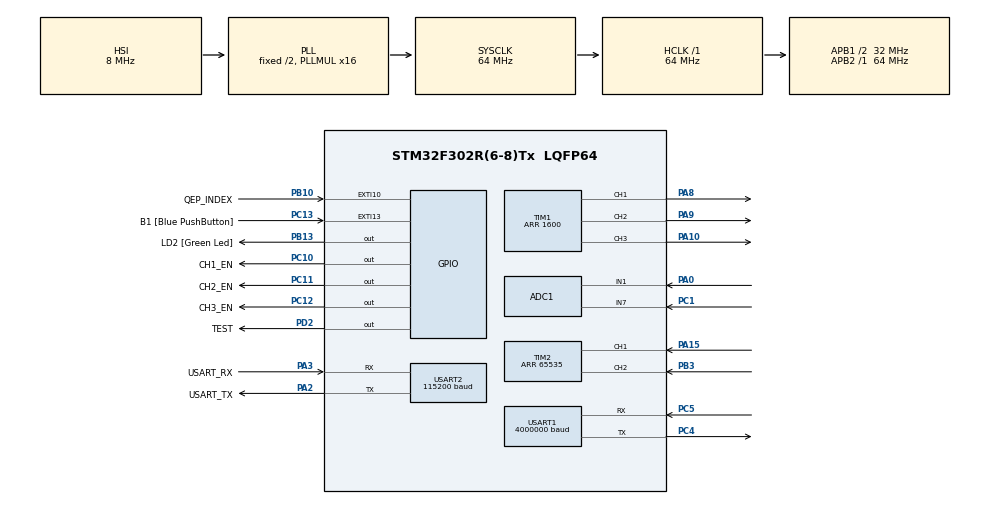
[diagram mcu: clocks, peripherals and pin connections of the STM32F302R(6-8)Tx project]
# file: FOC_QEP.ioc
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ADC1.Channel-0\#ChannelRegularConversion=ADC_CHANNEL_1
ADC1.ClockPrescaler=ADC_CLOCK_SYNC_PCLK_DIV4
ADC1.EOCSelection=ADC_EOC_SEQ_CONV
ADC1.ExternalTrigInjecConv=ADC_EXTERNALTRIGINJECCONV_T1_TRGO
ADC1.InjNumberOfConversion=2
ADC1.InjectedChannel-1\#ChannelInjectedConversion=ADC_CHANNEL_1
ADC1.InjectedChannel-2\#ChannelInjectedConversion=ADC_CHANNEL_7
ADC1.InjectedOffset-1\#ChannelInjectedConversion=0
ADC1.InjectedOffset-2\#ChannelInjectedConversion=0
ADC1.InjectedOffsetNumber-1\#ChannelInjectedConversion=ADC_OFFSET_NONE
ADC1.InjectedOffsetNumber-2\#ChannelInjectedConversion=ADC_OFFSET_NONE
ADC1.InjectedRank-1\#ChannelInjectedConversion=1
ADC1.InjectedRank-2\#ChannelInjectedConversion=2
ADC1.InjectedSamplingTime-1\#ChannelInjectedConversion=ADC_SAMPLETIME_2CYCLES_5
ADC1.InjectedSamplingTime-2\#ChannelInjectedConversion=ADC_SAMPLETIME_2CYCLES_5
ADC1.InjectedSamplingTimeOPAMP-1\#ChannelInjectedConversion=ADC_SAMPLETIME_61CYCLES_5
ADC1.InjectedSamplingTimeOPAMP-2\#ChannelInjectedConversion=ADC_SAMPLETIME_61CYCLES_5
ADC1.NbrOfConversionFlag=1
ADC1.Offset-0\#ChannelRegularConversion=0
ADC1.OffsetNumber-0\#ChannelRegularConversion=ADC_OFFSET_NONE
ADC1.Rank-0\#ChannelRegularConversion=1
ADC1.Rank1_Channel=ADC_CHANNEL_1
ADC1.Rank2_Channel=ADC_CHANNEL_7
ADC1.SamplingTime-0\#ChannelRegularConversion=ADC_SAMPLETIME_1CYCLE_5
ADC1.SubFamily=STM32F302x8
ADC1.master=1
Dma.Request0=USART1_RX
Dma.Request1=USART1_TX
Dma.Request2=USART2_RX
Dma.Request3=USART2_TX
Dma.USART1_RX.0.Direction=DMA_PERIPH_TO_MEMORY
Dma.USART1_RX.0.Instance=DMA1_Channel5
Dma.USART1_RX.0.MemDataAlignment=DMA_MDATAALIGN_BYTE
Dma.USART1_RX.0.MemInc=DMA_MINC_ENABLE
Dma.USART1_RX.0.Mode=DMA_CIRCULAR
Dma.USART1_RX.0.PeriphDataAlignment=DMA_PDATAALIGN_BYTE
Dma.USART1_RX.0.PeriphInc=DMA_PINC_DISABLE
Dma.USART1_RX.0.Priority=DMA_PRIORITY_LOW
Dma.USART1_TX.1.Direction=DMA_MEMORY_TO_PERIPH
Dma.USART1_TX.1.Instance=DMA1_Channel4
Dma.USART1_TX.1.MemDataAlignment=DMA_MDATAALIGN_BYTE
Dma.USART1_TX.1.MemInc=DMA_MINC_ENABLE
Dma.USART1_TX.1.Mode=DMA_NORMAL
Dma.USART1_TX.1.PeriphDataAlignment=DMA_PDATAALIGN_BYTE
Dma.USART1_TX.1.PeriphInc=DMA_PINC_DISABLE
Dma.USART1_TX.1.Priority=DMA_PRIORITY_LOW
Dma.USART2_RX.2.Direction=DMA_PERIPH_TO_MEMORY
Dma.USART2_RX.2.Instance=DMA1_Channel6
Dma.USART2_RX.2.MemDataAlignment=DMA_MDATAALIGN_BYTE
Dma.USART2_RX.2.MemInc=DMA_MINC_ENABLE
Dma.USART2_RX.2.Mode=DMA_NORMAL
Dma.USART2_RX.2.PeriphDataAlignment=DMA_PDATAALIGN_BYTE
Dma.USART2_RX.2.PeriphInc=DMA_PINC_DISABLE
Dma.USART2_RX.2.Priority=DMA_PRIORITY_LOW
Dma.USART2_TX.3.Direction=DMA_MEMORY_TO_PERIPH
Dma.USART2_TX.3.Instance=DMA1_Channel7
Dma.USART2_TX.3.MemDataAlignment=DMA_MDATAALIGN_BYTE
Dma.USART2_TX.3.MemInc=DMA_MINC_ENABLE
Dma.USART2_TX.3.Mode=DMA_NORMAL
Dma.USART2_TX.3.PeriphDataAlignment=DMA_PDATAALIGN_BYTE
Dma.USART2_TX.3.PeriphInc=DMA_PINC_DISABLE
Dma.USART2_TX.3.Priority=DMA_PRIORITY_LOW
Mcu.Family=STM32F3
Mcu.Name=STM32F302R(6-8)Tx
Mcu.Package=LQFP64
NVIC.ADC1_IRQn=true\:2\:0\:true\:true\:true\:3\:true\:true
NVIC.DMA1_Channel4_IRQn=true\:0\:0\:false\:false\:true\:false\:true
NVIC.DMA1_Channel5_IRQn=true\:0\:0\:false\:false\:true\:false\:true
NVIC.DMA1_Channel6_IRQn=true\:0\:0\:false\:false\:true\:false\:true
NVIC.DMA1_Channel7_IRQn=true\:0\:0\:false\:false\:true\:false\:true
NVIC.EXTI15_10_IRQn=true\:1\:0\:true\:true\:true\:2\:true\:true
NVIC.PriorityGroup=NVIC_PRIORITYGROUP_4
NVIC.TIM1_UP_TIM16_IRQn=true\:2\:0\:true\:true\:true\:4\:true\:true
NVIC.TIM6_DAC_IRQn=true\:2\:0\:true\:true\:true\:5\:true\:true
NVIC.USART1_IRQn=true\:0\:0\:false\:true\:true\:1\:true\:true
NVIC.USART2_IRQn=true\:0\:0\:false\:false\:true\:true\:true
PA0.Mode=IN1-Single-Ended
PA0.Signal=ADC1_IN1
PA10.Signal=S_TIM1_CH3
PA15.Signal=S_TIM2_CH1_ETR
PA2.GPIO_Label=USART_TX
PA2.GPIO_Mode=GPIO_MODE_AF_PP
PA2.GPIO_PuPd=GPIO_NOPULL
PA2.GPIO_Speed=GPIO_SPEED_FREQ_LOW
PA2.Mode=Asynchronous
PA2.Signal=USART2_TX
PA3.GPIO_Label=USART_RX
PA3.GPIO_Mode=GPIO_MODE_AF_PP
PA3.GPIO_PuPd=GPIO_NOPULL
PA3.GPIO_Speed=GPIO_SPEED_FREQ_LOW
PA3.Mode=Asynchronous
PA3.Signal=USART2_RX
PA8.Signal=S_TIM1_CH1
PA9.Signal=S_TIM1_CH2
PB10.GPIO_Label=QEP_INDEX
PB10.GPIO_ModeDefaultEXTI=GPIO_MODE_IT_FALLING
PB10.Signal=GPXTI10
PB13.GPIO_Label=LD2 [Green Led]
PB13.Signal=GPIO_Output
PB3.Signal=S_TIM2_CH2
PC1.Signal=ADCx_IN7
PC10.GPIO_Label=CH1_EN
PC10.Signal=GPIO_Output
PC11.GPIO_Label=CH2_EN
PC11.Signal=GPIO_Output
PC12.GPIO_Label=CH3_EN
PC12.Signal=GPIO_Output
PC13.GPIO_Label=B1 [Blue PushButton]
PC13.GPIO_ModeDefaultEXTI=GPIO_MODE_IT_FALLING
PC13.Signal=GPXTI13
PC4.Mode=Asynchronous
PC4.Signal=USART1_TX
PC5.Mode=Asynchronous
PC5.Signal=USART1_RX
PD2.GPIO_Label=TEST
PD2.Signal=GPIO_Output
ProjectManager.HeapSize=0x200
ProjectManager.StackSize=0x400
ProjectManager.TargetToolchain=MDK-ARM V5
RCC.AHBFreq_Value=64000000
RCC.APB1CLKDivider=RCC_HCLK_DIV2
RCC.APB1Freq_Value=32000000
RCC.APB1TimFreq_Value=64000000
RCC.APB2Freq_Value=64000000
RCC.APB2TimFreq_Value=64000000
RCC.CortexFreq_Value=64000000
RCC.HCLKFreq_Value=64000000
RCC.HSE_VALUE=8000000
RCC.HSI_VALUE=8000000
RCC.LSE_VALUE=32768
RCC.PLLM=8
RCC.PLLMUL=RCC_PLL_MUL16
RCC.PLLN=336
RCC.PLLP=RCC_PLLP_DIV4
RCC.PLLQ=7
RCC.RCC_PLLsource_Clock_Source_FROM_HSE=RCC_HSE_PREDIV_DIV2
RCC.SYSCLKFreq_VALUE=64000000
RCC.SYSCLKSourceVirtual=RCC_SYSCLKSOURCE_PLLCLK
RCC.USBFreq_Value=64000000
SH.ADCx_IN7.0=ADC1_IN7,IN7-Single-Ended
SH.S_TIM1_CH1.0=TIM1_CH1,PWM Generation1 CH1
SH.S_TIM1_CH2.0=TIM1_CH2,PWM Generation2 CH2
SH.S_TIM1_CH3.0=TIM1_CH3,PWM Generation3 CH3
SH.S_TIM2_CH1_ETR.0=TIM2_CH1,Encoder_Interface
SH.S_TIM2_CH2.0=TIM2_CH2,Encoder_Interface
TIM1.Channel-PWM\ Generation1\ CH1=TIM_CHANNEL_1
TIM1.Channel-PWM\ Generation2\ CH2=TIM_CHANNEL_2
TIM1.Channel-PWM\ Generation3\ CH3=TIM_CHANNEL_3
TIM1.CounterMode=TIM_COUNTERMODE_CENTERALIGNED1
TIM1.OCMode_PWM-PWM\ Generation1\ CH1=TIM_OCMODE_PWM2
TIM1.OCMode_PWM-PWM\ Generation2\ CH2=TIM_OCMODE_PWM2
TIM1.OCMode_PWM-PWM\ Generation3\ CH3=TIM_OCMODE_PWM2
TIM1.Period=1600
TIM1.RepetitionCounter=1
TIM1.TIM_MasterOutputTrigger=TIM_TRGO_UPDATE
TIM2.EncoderMode=TIM_ENCODERMODE_TI12
TIM2.IC1Polarity=TIM_ICPOLARITY_FALLING
TIM2.IC2Polarity=TIM_ICPOLARITY_FALLING
TIM2.Period=65535
TIM2.TIM_MasterOutputTrigger=TIM_TRGO_RESET
TIM6.Period=32000
TIM6.TIM_MasterOutputTrigger=TIM_TRGO_UPDATE
USART1.BaudRate=4000000
USART1.OverSampling=UART_OVERSAMPLING_8
USART1.VirtualMode-Asynchronous=VM_ASYNC
USART2.BaudRate=115200
USART2.VirtualMode-Asynchronous=VM_ASYNC
VP_TIM1_VS_ClockSourceINT.Mode=Internal
VP_TIM6_VS_ClockSourceINT.Mode=Enable_Timer
board=NUCLEO-F302R8

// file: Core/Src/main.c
/* USER CODE BEGIN Header */
/**
  ******************************************************************************
  * @file           : main.c
  * @brief          : Main program body
  ******************************************************************************
  * @attention
  *
  * <h2><center>&copy; Copyright (c) 2023 STMicroelectronics.
  * All rights reserved.</center></h2>
  *
  * This software component is licensed by ST under BSD 3-Clause license,
  * the "License"; You may not use this file except in compliance with the
  * License. You may obtain a copy of the License at:
  *                        opensource.org/licenses/BSD-3-Clause
  *
  ******************************************************************************
  */
/* USER CODE END Header */
#include "main.h"

/* USER CODE BEGIN Includes */
#include <stddef.h>
#include <stdio.h>            /* This example main program uses printf/fflush */
#include "MBD_FOC_SENSORLESS_MODEL.h"         /* Model header file */
/* USER CODE END Includes */

ADC_HandleTypeDef hadc1;

TIM_HandleTypeDef htim1;
TIM_HandleTypeDef htim2;
TIM_HandleTypeDef htim6;

UART_HandleTypeDef huart1;
UART_HandleTypeDef huart2;
DMA_HandleTypeDef hdma_usart1_rx;
DMA_HandleTypeDef hdma_usart1_tx;
DMA_HandleTypeDef hdma_usart2_rx;
DMA_HandleTypeDef hdma_usart2_tx;

void SystemClock_Config(void);
static void MX_GPIO_Init(void);
static void MX_DMA_Init(void);
static void MX_ADC1_Init(void);
static void MX_TIM1_Init(void);
static void MX_TIM2_Init(void);
static void MX_USART1_UART_Init(void);
static void MX_TIM6_Init(void);
static void MX_USART2_UART_Init(void);
static void MX_NVIC_Init(void);

/* USER CODE BEGIN 0 */
// serial receive buffer to store two float values
volatile uint8_t rx_buffer[8];
volatile uint8_t rx_buffer2[8];
// serial transmit buffer
volatile uint8_t tx_buffer[6];

// enable flag sent from host
volatile uint8_t ENABLE_INV = 0;

// reference speed sent from host
volatile float SPEED_REF = 100;

// voltage reference for open-loop
const float VOLTAGE_AMP_LOW_LIMIT = 0.15;

// count to keep track of serial packet
volatile uint8_t count = 0;

void rt_OneStep(void);
void rt_OneStep(void)
{
  static boolean_T OverrunFlag = false;

  /* Disable interrupts here */

  /* Check for overrun */
  if (OverrunFlag) {
    rtmSetErrorStatus(MBD_FOC_SENSORLESS_MODEL_M, "Overrun");
    return;
  }

  OverrunFlag = true;

  /* Save FPU context here (if necessary) */
  /* Re-enable timer or interrupt here */
  /* Set model inputs here */

  /* Step the model */
  MbdFocSensorlessCurrentCtrl();

  /* Get model outputs here */

  /* Indicate task complete */
  OverrunFlag = false;

  /* Disable interrupts here */
  /* Restore FPU context here (if necessary) */
  /* Enable interrupts here */
}

/* USER CODE END 0 */

int main(void)
{

  /* MCU Configuration--------------------------------------------------------*/

  /* Reset of all peripherals, Initializes the Flash interface and the Systick. */
  HAL_Init();

  /* Configure the system clock */
  SystemClock_Config();

  /* USER CODE BEGIN SysInit */

  MbdFocSensorlessInit();
  /* USER CODE END SysInit */

  /* Initialize all configured peripherals */
  MX_GPIO_Init();
  MX_DMA_Init();
  MX_ADC1_Init();
  MX_TIM1_Init();
  MX_TIM2_Init();
  MX_USART1_UART_Init();
  MX_TIM6_Init();
  MX_USART2_UART_Init();

  /* Initialize interrupts */
  MX_NVIC_Init();
  /* USER CODE BEGIN 2 */

  // start the PWM channels and the interrupt
  HAL_TIM_PWM_Start_IT(&htim1, TIM_CHANNEL_1);
  HAL_TIM_PWM_Start_IT(&htim1, TIM_CHANNEL_2);
  HAL_TIM_PWM_Start_IT(&htim1, TIM_CHANNEL_3);

  // update the PWM duty
  __HAL_TIM_SET_COMPARE(&htim1, TIM_CHANNEL_1, 0);
  __HAL_TIM_SET_COMPARE(&htim1, TIM_CHANNEL_2, 0);
  __HAL_TIM_SET_COMPARE(&htim1, TIM_CHANNEL_3, 0);

  // start the ADC and it's interrupt
  HAL_ADCEx_InjectedStart_IT(&hadc1);

  // start serial receive
  HAL_UART_Receive_DMA(&huart1, (uint8_t *)rx_buffer, 8);
	HAL_UART_Receive_DMA(&huart2, (uint8_t *)rx_buffer2, 8);
  /* USER CODE END 2 */

  /* Infinite loop */
  while (1)
  {

  }
}

void SystemClock_Config(void)
{
  RCC_OscInitTypeDef RCC_OscInitStruct = {0};
  RCC_ClkInitTypeDef RCC_ClkInitStruct = {0};
  RCC_PeriphCLKInitTypeDef PeriphClkInit = {0};

  /** Initializes the RCC Oscillators according to the specified parameters
  * in the RCC_OscInitTypeDef structure.
  */
  RCC_OscInitStruct.OscillatorType = RCC_OSCILLATORTYPE_HSI;
  RCC_OscInitStruct.HSIState = RCC_HSI_ON;
  RCC_OscInitStruct.HSICalibrationValue = RCC_HSICALIBRATION_DEFAULT;
  RCC_OscInitStruct.PLL.PLLState = RCC_PLL_ON;
  RCC_OscInitStruct.PLL.PLLSource = RCC_PLLSOURCE_HSI;
  RCC_OscInitStruct.PLL.PLLMUL = RCC_PLL_MUL16;
  if (HAL_RCC_OscConfig(&RCC_OscInitStruct) != HAL_OK)
  {
    Error_Handler();
  }
  /** Initializes the CPU, AHB and APB buses clocks
  */
  RCC_ClkInitStruct.ClockType = RCC_CLOCKTYPE_HCLK|RCC_CLOCKTYPE_SYSCLK
                              |RCC_CLOCKTYPE_PCLK1|RCC_CLOCKTYPE_PCLK2;
  RCC_ClkInitStruct.SYSCLKSource = RCC_SYSCLKSOURCE_PLLCLK;
  RCC_ClkInitStruct.AHBCLKDivider = RCC_SYSCLK_DIV1;
  RCC_ClkInitStruct.APB1CLKDivider = RCC_HCLK_DIV2;
  RCC_ClkInitStruct.APB2CLKDivider = RCC_HCLK_DIV1;

  if (HAL_RCC_ClockConfig(&RCC_ClkInitStruct, FLASH_LATENCY_2) != HAL_OK)
  {
    Error_Handler();
  }
  PeriphClkInit.PeriphClockSelection = RCC_PERIPHCLK_USART1|RCC_PERIPHCLK_TIM1;
  PeriphClkInit.Usart1ClockSelection = RCC_USART1CLKSOURCE_PCLK1;
  PeriphClkInit.Tim1ClockSelection = RCC_TIM1CLK_HCLK;
  if (HAL_RCCEx_PeriphCLKConfig(&PeriphClkInit) != HAL_OK)
  {
    Error_Handler();
  }
}

/**
  * @brief NVIC Configuration.
  * @retval None
  */
static void MX_NVIC_Init(void)
{
  /* USART1_IRQn interrupt configuration */
  HAL_NVIC_SetPriority(USART1_IRQn, 0, 0);
  HAL_NVIC_EnableIRQ(USART1_IRQn);
  /* EXTI15_10_IRQn interrupt configuration */
  HAL_NVIC_SetPriority(EXTI15_10_IRQn, 1, 0);
  HAL_NVIC_EnableIRQ(EXTI15_10_IRQn);
  /* ADC1_IRQn interrupt configuration */
  HAL_NVIC_SetPriority(ADC1_IRQn, 2, 0);
  HAL_NVIC_EnableIRQ(ADC1_IRQn);
  /* TIM1_UP_TIM16_IRQn interrupt configuration */
  HAL_NVIC_SetPriority(TIM1_UP_TIM16_IRQn, 2, 0);
  HAL_NVIC_EnableIRQ(TIM1_UP_TIM16_IRQn);
  /* TIM6_DAC_IRQn interrupt configuration */
  HAL_NVIC_SetPriority(TIM6_DAC_IRQn, 2, 0);
  HAL_NVIC_EnableIRQ(TIM6_DAC_IRQn);
}

static void MX_ADC1_Init(void)
{

  ADC_ChannelConfTypeDef sConfig = {0};
  ADC_InjectionConfTypeDef sConfigInjected = {0};

  /** Common config
  */
  hadc1.Instance = ADC1;
  hadc1.Init.ClockPrescaler = ADC_CLOCK_SYNC_PCLK_DIV4;
  hadc1.Init.Resolution = ADC_RESOLUTION_12B;
  hadc1.Init.ScanConvMode = ADC_SCAN_ENABLE;
  hadc1.Init.ContinuousConvMode = DISABLE;
  hadc1.Init.DiscontinuousConvMode = DISABLE;
  hadc1.Init.ExternalTrigConvEdge = ADC_EXTERNALTRIGCONVEDGE_NONE;
  hadc1.Init.ExternalTrigConv = ADC_SOFTWARE_START;
  hadc1.Init.DataAlign = ADC_DATAALIGN_RIGHT;
  hadc1.Init.NbrOfConversion = 1;
  hadc1.Init.DMAContinuousRequests = DISABLE;
  hadc1.Init.EOCSelection = ADC_EOC_SEQ_CONV;
  hadc1.Init.LowPowerAutoWait = DISABLE;
  hadc1.Init.Overrun = ADC_OVR_DATA_OVERWRITTEN;
  if (HAL_ADC_Init(&hadc1) != HAL_OK)
  {
    Error_Handler();
  }
  /** Configure Regular Channel
  */
  sConfig.Channel = ADC_CHANNEL_1;
  sConfig.Rank = ADC_REGULAR_RANK_1;
  sConfig.SingleDiff = ADC_SINGLE_ENDED;
  sConfig.SamplingTime = ADC_SAMPLETIME_1CYCLE_5;
  sConfig.OffsetNumber = ADC_OFFSET_NONE;
  sConfig.Offset = 0;
  if (HAL_ADC_ConfigChannel(&hadc1, &sConfig) != HAL_OK)
  {
    Error_Handler();
  }
  /** Configure Injected Channel
  */
  sConfigInjected.InjectedChannel = ADC_CHANNEL_1;
  sConfigInjected.InjectedRank = ADC_INJECTED_RANK_1;
  sConfigInjected.InjectedSingleDiff = ADC_SINGLE_ENDED;
  sConfigInjected.InjectedNbrOfConversion = 2;
  sConfigInjected.InjectedSamplingTime = ADC_SAMPLETIME_2CYCLES_5;
  sConfigInjected.ExternalTrigInjecConvEdge = ADC_EXTERNALTRIGINJECCONV_EDGE_RISING;
  sConfigInjected.ExternalTrigInjecConv = ADC_EXTERNALTRIGINJECCONV_T1_TRGO;
  sConfigInjected.AutoInjectedConv = DISABLE;
  sConfigInjected.InjectedDiscontinuousConvMode = DISABLE;
  sConfigInjected.QueueInjectedContext = DISABLE;
  sConfigInjected.InjectedOffset = 0;
  sConfigInjected.InjectedOffsetNumber = ADC_OFFSET_NONE;
  if (HAL_ADCEx_InjectedConfigChannel(&hadc1, &sConfigInjected) != HAL_OK)
  {
    Error_Handler();
  }
  /** Configure Injected Channel
  */
  sConfigInjected.InjectedChannel = ADC_CHANNEL_7;
  sConfigInjected.InjectedRank = ADC_INJECTED_RANK_2;
  if (HAL_ADCEx_InjectedConfigChannel(&hadc1, &sConfigInjected) != HAL_OK)
  {
    Error_Handler();
  }

}

static void MX_TIM1_Init(void)
{

  TIM_ClockConfigTypeDef sClockSourceConfig = {0};
  TIM_MasterConfigTypeDef sMasterConfig = {0};
  TIM_OC_InitTypeDef sConfigOC = {0};
  TIM_BreakDeadTimeConfigTypeDef sBreakDeadTimeConfig = {0};

  htim1.Instance = TIM1;
  htim1.Init.Prescaler = 0;
  htim1.Init.CounterMode = TIM_COUNTERMODE_CENTERALIGNED1;
  htim1.Init.Period = 1600;
  htim1.Init.ClockDivision = TIM_CLOCKDIVISION_DIV1;
  htim1.Init.RepetitionCounter = 1;
  htim1.Init.AutoReloadPreload = TIM_AUTORELOAD_PRELOAD_DISABLE;
  if (HAL_TIM_Base_Init(&htim1) != HAL_OK)
  {
    Error_Handler();
  }
  sClockSourceConfig.ClockSource = TIM_CLOCKSOURCE_INTERNAL;
  if (HAL_TIM_ConfigClockSource(&htim1, &sClockSourceConfig) != HAL_OK)
  {
    Error_Handler();
  }
  if (HAL_TIM_PWM_Init(&htim1) != HAL_OK)
  {
    Error_Handler();
  }
  sMasterConfig.MasterOutputTrigger = TIM_TRGO_UPDATE;
  sMasterConfig.MasterOutputTrigger2 = TIM_TRGO2_RESET;
  sMasterConfig.MasterSlaveMode = TIM_MASTERSLAVEMODE_DISABLE;
  if (HAL_TIMEx_MasterConfigSynchronization(&htim1, &sMasterConfig) != HAL_OK)
  {
    Error_Handler();
  }
  sConfigOC.OCMode = TIM_OCMODE_PWM2;
  sConfigOC.Pulse = 0;
  sConfigOC.OCPolarity = TIM_OCPOLARITY_HIGH;
  sConfigOC.OCNPolarity = TIM_OCNPOLARITY_HIGH;
  sConfigOC.OCFastMode = TIM_OCFAST_DISABLE;
  sConfigOC.OCIdleState = TIM_OCIDLESTATE_RESET;
  sConfigOC.OCNIdleState = TIM_OCNIDLESTATE_RESET;
  if (HAL_TIM_PWM_ConfigChannel(&htim1, &sConfigOC, TIM_CHANNEL_1) != HAL_OK)
  {
    Error_Handler();
  }
  if (HAL_TIM_PWM_ConfigChannel(&htim1, &sConfigOC, TIM_CHANNEL_2) != HAL_OK)
  {
    Error_Handler();
  }
  if (HAL_TIM_PWM_ConfigChannel(&htim1, &sConfigOC, TIM_CHANNEL_3) != HAL_OK)
  {
    Error_Handler();
  }
  sBreakDeadTimeConfig.OffStateRunMode = TIM_OSSR_DISABLE;
  sBreakDeadTimeConfig.OffStateIDLEMode = TIM_OSSI_DISABLE;
  sBreakDeadTimeConfig.LockLevel = TIM_LOCKLEVEL_OFF;
  sBreakDeadTimeConfig.DeadTime = 0;
  sBreakDeadTimeConfig.BreakState = TIM_BREAK_DISABLE;
  sBreakDeadTimeConfig.BreakPolarity = TIM_BREAKPOLARITY_HIGH;
  sBreakDeadTimeConfig.BreakFilter = 0;
  sBreakDeadTimeConfig.Break2State = TIM_BREAK2_DISABLE;
  sBreakDeadTimeConfig.Break2Polarity = TIM_BREAK2POLARITY_HIGH;
  sBreakDeadTimeConfig.Break2Filter = 0;
  sBreakDeadTimeConfig.AutomaticOutput = TIM_AUTOMATICOUTPUT_DISABLE;
  if (HAL_TIMEx_ConfigBreakDeadTime(&htim1, &sBreakDeadTimeConfig) != HAL_OK)
  {
    Error_Handler();
  }
  HAL_TIM_MspPostInit(&htim1);

}

static void MX_TIM2_Init(void)
{

  TIM_Encoder_InitTypeDef sConfig = {0};
  TIM_MasterConfigTypeDef sMasterConfig = {0};

  htim2.Instance = TIM2;
  htim2.Init.Prescaler = 0;
  htim2.Init.CounterMode = TIM_COUNTERMODE_UP;
  htim2.Init.Period = 65535;
  htim2.Init.ClockDivision = TIM_CLOCKDIVISION_DIV1;
  htim2.Init.AutoReloadPreload = TIM_AUTORELOAD_PRELOAD_DISABLE;
  sConfig.EncoderMode = TIM_ENCODERMODE_TI12;
  sConfig.IC1Polarity = TIM_ICPOLARITY_FALLING;
  sConfig.IC1Selection = TIM_ICSELECTION_DIRECTTI;
  sConfig.IC1Prescaler = TIM_ICPSC_DIV1;
  sConfig.IC1Filter = 0;
  sConfig.IC2Polarity = TIM_ICPOLARITY_FALLING;
  sConfig.IC2Selection = TIM_ICSELECTION_DIRECTTI;
  sConfig.IC2Prescaler = TIM_ICPSC_DIV1;
  sConfig.IC2Filter = 0;
  if (HAL_TIM_Encoder_Init(&htim2, &sConfig) != HAL_OK)
  {
    Error_Handler();
  }
  sMasterConfig.MasterOutputTrigger = TIM_TRGO_RESET;
  sMasterConfig.MasterSlaveMode = TIM_MASTERSLAVEMODE_DISABLE;
  if (HAL_TIMEx_MasterConfigSynchronization(&htim2, &sMasterConfig) != HAL_OK)
  {
    Error_Handler();
  }

}

static void MX_TIM6_Init(void)
{

  TIM_MasterConfigTypeDef sMasterConfig = {0};

  htim6.Instance = TIM6;
  htim6.Init.Prescaler = 0;
  htim6.Init.CounterMode = TIM_COUNTERMODE_UP;
  htim6.Init.Period = 32000;
  htim6.Init.AutoReloadPreload = TIM_AUTORELOAD_PRELOAD_DISABLE;
  if (HAL_TIM_Base_Init(&htim6) != HAL_OK)
  {
    Error_Handler();
  }
  sMasterConfig.MasterOutputTrigger = TIM_TRGO_UPDATE;
  sMasterConfig.MasterSlaveMode = TIM_MASTERSLAVEMODE_DISABLE;
  if (HAL_TIMEx_MasterConfigSynchronization(&htim6, &sMasterConfig) != HAL_OK)
  {
    Error_Handler();
  }

}

static void MX_USART1_UART_Init(void)
{

  huart1.Instance = USART1;
  huart1.Init.BaudRate = 4000000;
  huart1.Init.WordLength = UART_WORDLENGTH_8B;
  huart1.Init.StopBits = UART_STOPBITS_1;
  huart1.Init.Parity = UART_PARITY_NONE;
  huart1.Init.Mode = UART_MODE_TX_RX;
  huart1.Init.HwFlowCtl = UART_HWCONTROL_NONE;
  huart1.Init.OverSampling = UART_OVERSAMPLING_8;
  huart1.Init.OneBitSampling = UART_ONE_BIT_SAMPLE_DISABLE;
  huart1.AdvancedInit.AdvFeatureInit = UART_ADVFEATURE_NO_INIT;
  if (HAL_UART_Init(&huart1) != HAL_OK)
  {
    Error_Handler();
  }

}

static void MX_USART2_UART_Init(void)
{

  huart2.Instance = USART2;
  huart2.Init.BaudRate = 2000000;
  huart2.Init.WordLength = UART_WORDLENGTH_8B;
  huart2.Init.StopBits = UART_STOPBITS_1;
  huart2.Init.Parity = UART_PARITY_NONE;
  huart2.Init.Mode = UART_MODE_TX_RX;
  huart2.Init.HwFlowCtl = UART_HWCONTROL_NONE;
  huart2.Init.OverSampling = UART_OVERSAMPLING_16;
  huart2.Init.OneBitSampling = UART_ONE_BIT_SAMPLE_DISABLE;
  huart2.AdvancedInit.AdvFeatureInit = UART_ADVFEATURE_NO_INIT;
  if (HAL_UART_Init(&huart2) != HAL_OK)
  {
    Error_Handler();
  }

}

static void MX_DMA_Init(void)
{

  /* DMA controller clock enable */
  __HAL_RCC_DMA1_CLK_ENABLE();

  /* DMA interrupt init */
  /* DMA1_Channel4_IRQn interrupt configuration */
  HAL_NVIC_SetPriority(DMA1_Channel4_IRQn, 0, 0);
  HAL_NVIC_EnableIRQ(DMA1_Channel4_IRQn);
  /* DMA1_Channel5_IRQn interrupt configuration */
  HAL_NVIC_SetPriority(DMA1_Channel5_IRQn, 0, 0);
  HAL_NVIC_EnableIRQ(DMA1_Channel5_IRQn);
  /* DMA1_Channel6_IRQn interrupt configuration */
  HAL_NVIC_SetPriority(DMA1_Channel6_IRQn, 0, 0);
  HAL_NVIC_EnableIRQ(DMA1_Channel6_IRQn);
  /* DMA1_Channel7_IRQn interrupt configuration */
  HAL_NVIC_SetPriority(DMA1_Channel7_IRQn, 0, 0);
  HAL_NVIC_EnableIRQ(DMA1_Channel7_IRQn);

}

static void MX_GPIO_Init(void)
{
  GPIO_InitTypeDef GPIO_InitStruct = {0};

  /* GPIO Ports Clock Enable */
  __HAL_RCC_GPIOC_CLK_ENABLE();
  __HAL_RCC_GPIOA_CLK_ENABLE();
  __HAL_RCC_GPIOB_CLK_ENABLE();
  __HAL_RCC_GPIOD_CLK_ENABLE();

  /*Configure GPIO pin Output Level */
  HAL_GPIO_WritePin(LD2_GPIO_Port, LD2_Pin, GPIO_PIN_RESET);

  /*Configure GPIO pin Output Level */
  HAL_GPIO_WritePin(GPIOC, CH1_EN_Pin|CH2_EN_Pin|CH3_EN_Pin, GPIO_PIN_RESET);

  /*Configure GPIO pin Output Level */
  HAL_GPIO_WritePin(TEST_GPIO_Port, TEST_Pin, GPIO_PIN_RESET);

  /*Configure GPIO pin : B1_Pin */
  GPIO_InitStruct.Pin = B1_Pin;
  GPIO_InitStruct.Mode = GPIO_MODE_IT_FALLING;
  GPIO_InitStruct.Pull = GPIO_NOPULL;
  HAL_GPIO_Init(B1_GPIO_Port, &GPIO_InitStruct);

  /*Configure GPIO pin : QEP_INDEX_Pin */
  GPIO_InitStruct.Pin = QEP_INDEX_Pin;
  GPIO_InitStruct.Mode = GPIO_MODE_IT_FALLING;
  GPIO_InitStruct.Pull = GPIO_NOPULL;
  HAL_GPIO_Init(QEP_INDEX_GPIO_Port, &GPIO_InitStruct);

  /*Configure GPIO pin : LD2_Pin */
  GPIO_InitStruct.Pin = LD2_Pin;
  GPIO_InitStruct.Mode = GPIO_MODE_OUTPUT_PP;
  GPIO_InitStruct.Pull = GPIO_NOPULL;
  GPIO_InitStruct.Speed = GPIO_SPEED_FREQ_LOW;
  HAL_GPIO_Init(LD2_GPIO_Port, &GPIO_InitStruct);

  /*Configure GPIO pins : CH1_EN_Pin CH2_EN_Pin CH3_EN_Pin */
  GPIO_InitStruct.Pin = CH1_EN_Pin|CH2_EN_Pin|CH3_EN_Pin;
  GPIO_InitStruct.Mode = GPIO_MODE_OUTPUT_PP;
  GPIO_InitStruct.Pull = GPIO_NOPULL;
  GPIO_InitStruct.Speed = GPIO_SPEED_FREQ_LOW;
  HAL_GPIO_Init(GPIOC, &GPIO_InitStruct);

  /*Configure GPIO pin : TEST_Pin */
  GPIO_InitStruct.Pin = TEST_Pin;
  GPIO_InitStruct.Mode = GPIO_MODE_OUTPUT_PP;
  GPIO_InitStruct.Pull = GPIO_NOPULL;
  GPIO_InitStruct.Speed = GPIO_SPEED_FREQ_LOW;
  HAL_GPIO_Init(TEST_GPIO_Port, &GPIO_InitStruct);

}

/* USER CODE BEGIN 4 */

// ADC conversion complete interrupt configured to trigger at every 50 us
void HAL_ADCEx_InjectedConvCpltCallback(ADC_HandleTypeDef *hadc)
{
static uint16_t aa;
	// set the TEST pin
	HAL_GPIO_WritePin(TEST_GPIO_Port, TEST_Pin, GPIO_PIN_SET);

	// set the enable pins
	HAL_GPIO_WritePin(GPIOC, CH1_EN_Pin|CH2_EN_Pin|CH3_EN_Pin, (uint8_t)ENABLE_INV);

	real32_T duty_vals[3] = {0, 0, 0};

	// number of bytes to be sent
	uint16_t num_bytes = 0;

	// read the Ia and Ib currents
	uint16_t Ia = (uint16_t)HAL_ADCEx_InjectedGetValue(&hadc1, ADC_INJECTED_RANK_1);
	uint16_t Ib = (uint16_t)HAL_ADCEx_InjectedGetValue(&hadc1, ADC_INJECTED_RANK_2);

	// call the open loop algorithm step function
	//open_loop_algorithm_step(ENABLE_INV, VOLTAGE_AMP_LOW_LIMIT, SPEED_REF, duty_vals);
	MBD_FOC_SENSORLESS_MODEL_DW.ADC_IA = Ia;
	MBD_FOC_SENSORLESS_MODEL_DW.ADC_IB = Ib;
	MBD_FOC_SENSORLESS_MODEL_DW.Enable = ENABLE_INV;
	//MBD_FOC_SENSORLESS_MODEL_DW.SpeedRef = 16384*(SPEED_REF/2000.0F);
	VelRef = SPEED_REF;
	rt_OneStep();
	// scale duty ratio to PWM counter period
//	for (int i = 0; i < 3; i++)
//	{
//		duty_vals[i] = (1 - duty_vals[i]) * htim1.Init.Period;
//	}

	duty_vals[0] = htim1.Init.Period - Pwm1Duty;//Pwm1Duty;//htim1.Init.Period - Pwm1Duty;
	duty_vals[1] = htim1.Init.Period - Pwm2Duty;//Pwm2Duty;//htim1.Init.Period - Pwm2Duty;
	duty_vals[2] = htim1.Init.Period - Pwm3Duty;//Pwm3Duty;//htim1.Init.Period - Pwm3Duty;
	// update duty cycles
	__HAL_TIM_SET_COMPARE(&htim1, TIM_CHANNEL_1, (uint32_T)duty_vals[0]);
	__HAL_TIM_SET_COMPARE(&htim1, TIM_CHANNEL_2, (uint32_T)duty_vals[1]);
	__HAL_TIM_SET_COMPARE(&htim1, TIM_CHANNEL_3, (uint32_T)duty_vals[2]);

	// serial monitoring
	if (count == 0)
	{
		// add header
		tx_buffer[0] = 's';
		tx_buffer[1] = 's';
		memcpy((uint8_t *)(tx_buffer + 2), &Ia, 2);
		//memcpy((uint8_t *)(tx_buffer + 4), &Ib, 2);
		memcpy((uint8_t *)(tx_buffer + 4), &smoAnglePU, 2);
		num_bytes = 6;
		count++;
	}
	else if (count == 199)
	{
		//add terminator
		memcpy((uint8_t *)(tx_buffer), &Ia, 2);
		//memcpy((uint8_t *)(tx_buffer + 2), &Ib, 2);
		memcpy((uint8_t *)(tx_buffer + 4), &smoAnglePU, 2);
		tx_buffer[4] = 'e';
		tx_buffer[5] = 'e';
		num_bytes = 6;
		count = 0;
	}
	else
	{
		memcpy((uint8_t *)(tx_buffer), &Ia, 2);
		//memcpy((uint8_t *)(tx_buffer + 2), &Ib, 2);
		memcpy((uint8_t *)(tx_buffer + 2), &smoAnglePU, 2);
		num_bytes = 4;
		count ++;
	}

	// serial transmit via DMA
	if ((aa++%10000)==0)
	{
		//HAL_UART_Transmit_DMA(&huart1, (uint8_t *)tx_buffer, num_bytes);
		//HAL_UART_Transmit_DMA(&huart2, (uint8_t *)tx_buffer, num_bytes);
	}
	if (ENABLE_INV)
	HAL_UART_Transmit_DMA(&huart2, (uint8_t *)tx_buffer, num_bytes);

	// reset TEST pin
	HAL_GPIO_WritePin(TEST_GPIO_Port, TEST_Pin, GPIO_PIN_RESET);
}

// serial receive complete callback configured to trigger after receiving two float data type values
void HAL_UART_RxCpltCallback(UART_HandleTypeDef *huart){

	if (huart == &huart1)
	{
		// read the inverter enable command
		ENABLE_INV = (uint8_t)(*(float *)rx_buffer);

		// read the speed reference command
		SPEED_REF = *(float *)(rx_buffer + 4);
		HAL_UART_Receive_DMA(&huart1, (uint8_t *)rx_buffer, 8);
	}
	else
	{
		// read the inverter enable command
		ENABLE_INV = (uint8_t)(*(float *)rx_buffer2);

		// read the speed reference command
		SPEED_REF = *(float *)(rx_buffer2 + 4);
		HAL_UART_Receive_DMA(&huart2, (uint8_t *)rx_buffer2, 8);
	}
}
/* USER CODE END 4 */

void Error_Handler(void)
{
  __disable_irq();
  while (1)
  {
  }
}

/************************ (C) COPYRIGHT STMicroelectronics *****END OF FILE****/
